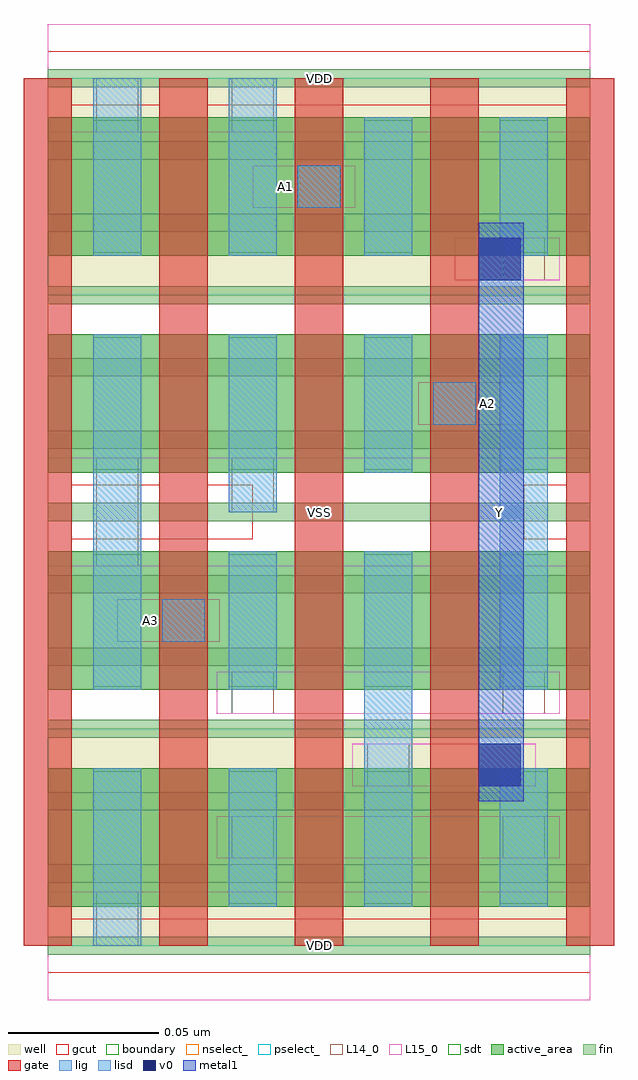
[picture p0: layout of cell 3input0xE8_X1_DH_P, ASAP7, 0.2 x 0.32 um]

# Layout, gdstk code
import gdstk
lib = gdstk.Library(unit=1e-6, precision=1e-09)
def R(c, l, rs):  # rectangles x0, y0, x1, y1
    for r in rs: c.add(gdstk.rectangle(r[:2], r[2:], *l))
def A(c, l, x, y, w, h, nx, ny, dx, dy):  # array of equal rectangles
    R(c, l, [(x+i*dx, y+j*dy, x+i*dx+w, y+j*dy+h) for i in range(nx) for j in range(ny)])
def P(c, l, *ps):  # polygons
    for p in ps: c.add(gdstk.Polygon(p, *l))
well = (1, 0)
fin = (2, 0)
gate = (7, 0)
gcut = (10, 0)
active_area = (11, 0)
nselect_ = (12, 0)
pselect_ = (13, 0)
L14_0 = (14, 0)
L15_0 = (15, 0)
lig = (16, 0)
lisd = (17, 0)
v0 = (18, 0)
metal1 = (19, 0)
sdt = (88, 0)
boundary = (100, 0)

c_3input0xe8_x1_dh_p = lib.new_cell('3input0xE8_X1_DH_P')
R(c_3input0xe8_x1_dh_p, well, [(0,0,0.18,0.072), (0,0.216,0.18,0.288)])
A(c_3input0xe8_x1_dh_p, fin, 0, -0.003, 0.18, 0.006, 1, 13, 0, 0.024)
A(c_3input0xe8_x1_dh_p, gate, -0.008, 0, 0.016, 0.288, 5, 1, 0.045, 0)
P(c_3input0xe8_x1_dh_p, gcut, [(0,-0.009),(0,0),(-0.008,0),(-0.008,0.279),(0.008,0.279),(0.008,0.153),(0.037,0.153),(0.037,0.279),(0.053,0.279),(0.053,0.153),(0.068,0.153),(0.068,0.135),(0.008,0.135),(0.008,0.009),(0.172,0.009),(0.172,0.135),(0.158,0.135),(0.158,0.153),(0.172,0.153),(0.172,0.279),(-0.008,0.279),(-0.008,0.288),(0,0.288),(0,0.297),(0.18,0.297),(0.18,0.288),(0.188,0.288),(0.188,0),(0.18,0),(0.18,-0.009)])
A(c_3input0xe8_x1_dh_p, active_area, 0, 0.013, 0.18, 0.046, 1, 4, 0, 0.072)
R(c_3input0xe8_x1_dh_p, nselect_, [(0,0.072,0.18,0.144), (0,0.144,0.18,0.216)])
R(c_3input0xe8_x1_dh_p, pselect_, [(0,0,0.18,0.072), (0,0.216,0.18,0.288)])
R(c_3input0xe8_x1_dh_p, L14_0, [(0.016,0,0.03,0.018), (0.061,0.029,0.075,0.043), (0.151,0.029,0.165,0.043), (0.106,0.053,0.12,0.067), (0.061,0.077,0.075,0.091), (0.151,0.077,0.165,0.091), (0.038,0.101,0.052,0.115), (0.016,0.126,0.03,0.144), (0.016,0.144,0.03,0.162), (0.061,0.144,0.075,0.162), (0.128,0.173,0.142,0.187), (0.151,0.221,0.165,0.235), (0.083,0.245,0.097,0.259), (0.016,0.27,0.03,0.288), (0.061,0.27,0.075,0.288)])
A(c_3input0xe8_x1_dh_p, L15_0, 0, -0.018, 0.18, 0.036, 1, 3, 0, 0.144)
R(c_3input0xe8_x1_dh_p, L15_0, [(0.056,0.029,0.17,0.043), (0.101,0.053,0.162,0.067), (0.056,0.077,0.17,0.091), (0.023,0.101,0.057,0.115), (0.123,0.173,0.158,0.187), (0.135,0.221,0.17,0.235), (0.068,0.245,0.102,0.259)])
R(c_3input0xe8_x1_dh_p, lig, [(0.038,0.101,0.052,0.115), (0.128,0.173,0.142,0.187), (0.083,0.245,0.097,0.259)])
R(c_3input0xe8_x1_dh_p, lisd, [(0.015,0,0.031,0.059), (0.06,0.013,0.076,0.059), (0.105,0.013,0.121,0.131), (0.15,0.013,0.166,0.059), (0.015,0.085,0.031,0.203), (0.06,0.085,0.076,0.131), (0.15,0.085,0.166,0.203), (0.06,0.144,0.076,0.203), (0.105,0.157,0.121,0.203), (0.015,0.229,0.031,0.288), (0.06,0.229,0.076,0.288), (0.105,0.229,0.121,0.275), (0.15,0.229,0.166,0.275)])
R(c_3input0xe8_x1_dh_p, v0, [(0.143,0.053,0.157,0.067), (0.143,0.221,0.157,0.235)])
R(c_3input0xe8_x1_dh_p, metal1, [(0.143,0.048,0.158,0.24)])
A(c_3input0xe8_x1_dh_p, sdt, 0.015, 0.014, 0.016, 0.044, 4, 4, 0.045, 0.072)
R(c_3input0xe8_x1_dh_p, boundary, [(0,0,0.18,0.288)])
c_3input0xe8_x1_dh_p.add(gdstk.Label('A3', (0.034,0.108), layer=15, texttype=251))
c_3input0xe8_x1_dh_p.add(gdstk.Label('VDD', (0.09,0), layer=15, texttype=251))
c_3input0xe8_x1_dh_p.add(gdstk.Label('VSS', (0.09,0.144), layer=15, texttype=251))
c_3input0xe8_x1_dh_p.add(gdstk.Label('VSS', (0.09,0.144), layer=15, texttype=251))
c_3input0xe8_x1_dh_p.add(gdstk.Label('VDD', (0.09,0.288), layer=15, texttype=251))
c_3input0xe8_x1_dh_p.add(gdstk.Label('A2', (0.146,0.18), layer=15, texttype=251))
c_3input0xe8_x1_dh_p.add(gdstk.Label('VDD', (0.09,0), layer=15, texttype=251))
c_3input0xe8_x1_dh_p.add(gdstk.Label('VSS', (0.09,0.144), layer=15, texttype=251))
c_3input0xe8_x1_dh_p.add(gdstk.Label('VSS', (0.09,0.144), layer=15, texttype=251))
c_3input0xe8_x1_dh_p.add(gdstk.Label('VDD', (0.09,0.288), layer=15, texttype=251))
c_3input0xe8_x1_dh_p.add(gdstk.Label('VDD', (0.09,0), layer=15, texttype=251))
c_3input0xe8_x1_dh_p.add(gdstk.Label('VSS', (0.09,0.144), layer=15, texttype=251))
c_3input0xe8_x1_dh_p.add(gdstk.Label('VSS', (0.09,0.144), layer=15, texttype=251))
c_3input0xe8_x1_dh_p.add(gdstk.Label('VDD', (0.09,0.288), layer=15, texttype=251))
c_3input0xe8_x1_dh_p.add(gdstk.Label('A1', (0.079,0.252), layer=15, texttype=251))
c_3input0xe8_x1_dh_p.add(gdstk.Label('VDD', (0.09,0), layer=15, texttype=251))
c_3input0xe8_x1_dh_p.add(gdstk.Label('VSS', (0.09,0.144), layer=15, texttype=251))
c_3input0xe8_x1_dh_p.add(gdstk.Label('VSS', (0.09,0.144), layer=15, texttype=251))
c_3input0xe8_x1_dh_p.add(gdstk.Label('VDD', (0.09,0.288), layer=15, texttype=251))
c_3input0xe8_x1_dh_p.add(gdstk.Label('VSS', (0.09,0.144), layer=3, texttype=251))
c_3input0xe8_x1_dh_p.add(gdstk.Label('VSS', (0.09,0.144), layer=3, texttype=251))
c_3input0xe8_x1_dh_p.add(gdstk.Label('VSS', (0.09,0.144), layer=3, texttype=251))
c_3input0xe8_x1_dh_p.add(gdstk.Label('VSS', (0.09,0.144), layer=3, texttype=251))
c_3input0xe8_x1_dh_p.add(gdstk.Label('VSS', (0.09,0.144), layer=3, texttype=251))
c_3input0xe8_x1_dh_p.add(gdstk.Label('VSS', (0.09,0.144), layer=3, texttype=251))
c_3input0xe8_x1_dh_p.add(gdstk.Label('VSS', (0.09,0.144), layer=3, texttype=251))
c_3input0xe8_x1_dh_p.add(gdstk.Label('VSS', (0.09,0.144), layer=3, texttype=251))
c_3input0xe8_x1_dh_p.add(gdstk.Label('VDD', (0.09,0), layer=1, texttype=251))
c_3input0xe8_x1_dh_p.add(gdstk.Label('VDD', (0.09,0.288), layer=1, texttype=251))
c_3input0xe8_x1_dh_p.add(gdstk.Label('VDD', (0.09,0), layer=1, texttype=251))
c_3input0xe8_x1_dh_p.add(gdstk.Label('VDD', (0.09,0.288), layer=1, texttype=251))
c_3input0xe8_x1_dh_p.add(gdstk.Label('VDD', (0.09,0), layer=1, texttype=251))
c_3input0xe8_x1_dh_p.add(gdstk.Label('VDD', (0.09,0.288), layer=1, texttype=251))
c_3input0xe8_x1_dh_p.add(gdstk.Label('VDD', (0.09,0), layer=1, texttype=251))
c_3input0xe8_x1_dh_p.add(gdstk.Label('VDD', (0.09,0.288), layer=1, texttype=251))
c_3input0xe8_x1_dh_p.add(gdstk.Label('Y', (0.15,0.144), layer=19, texttype=251))

lib.write_gds('3input0xE8_X1_DH_P.gds')
